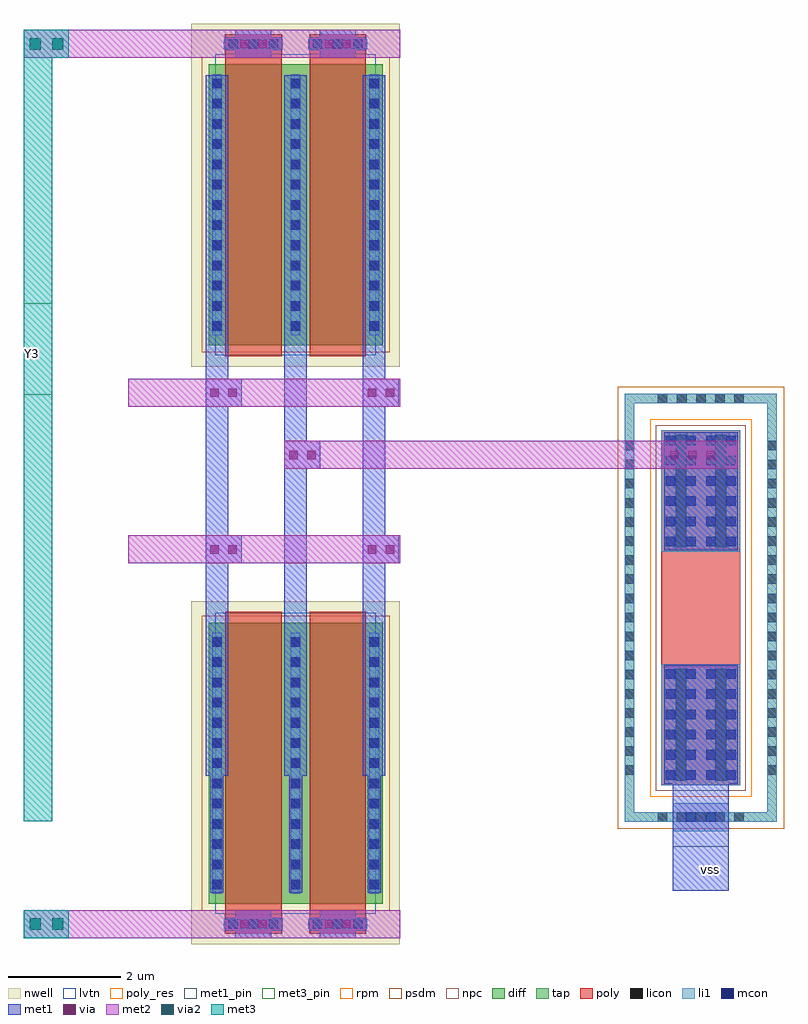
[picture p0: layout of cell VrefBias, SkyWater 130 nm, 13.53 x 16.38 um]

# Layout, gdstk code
from math import pi, radians
import gdstk
lib = gdstk.Library(unit=1e-6, precision=5e-09)
def R(c, l, rs):  # rectangles x0, y0, x1, y1
    for r in rs: c.add(gdstk.rectangle(r[:2], r[2:], *l))
def A(c, l, x, y, w, h, nx, ny, dx, dy):  # array of equal rectangles
    R(c, l, [(x+i*dx, y+j*dy, x+i*dx+w, y+j*dy+h) for i in range(nx) for j in range(ny)])
nwell = (64, 20)
diff = (65, 20)
tap = (65, 44)
poly_res = (66, 13)
poly = (66, 20)
licon = (66, 44)
li1 = (67, 20)
mcon = (67, 44)
met1_pin = (68, 16)
met1 = (68, 20)
via = (68, 44)
met2 = (69, 20)
via2 = (69, 44)
met3_pin = (70, 16)
met3 = (70, 20)
rpm = (86, 20)
psdm = (94, 20)
npc = (95, 20)
lvtn = (125, 44)

pfet = lib.new_cell('pfet')
R(pfet, nwell, [(-0.305,-0.38,3.405,5.72)])
R(pfet, diff, [(0,0,3.1,5)])
R(pfet, poly, [(0.3,-0.2,1.3,5.2), (1.8,-0.2,2.8,5.2), (0.3,5.2,1.3,5.53), (1.8,5.2,2.8,5.53)])
A(pfet, licon, 0.065, 0.255, 0.17, 0.17, 3, 13, 1.4, 0.36)
A(pfet, licon, 0.355, 5.28, 0.17, 0.17, 3, 1, 0.36, 0)
A(pfet, licon, 1.855, 5.28, 0.17, 0.17, 3, 1, 0.36, 0)
A(pfet, li1, 0.065, 0.175, 0.17, 4.65, 3, 1, 1.4, 0)
R(pfet, li1, [(0.275,5.28,1.325,5.45), (1.775,5.28,2.825,5.45)])
A(pfet, mcon, 0.065, 0.255, 0.17, 0.17, 3, 13, 1.4, 0.36)
A(pfet, mcon, 0.355, 5.28, 0.17, 0.17, 3, 1, 0.36, 0)
A(pfet, mcon, 1.855, 5.28, 0.17, 0.17, 3, 1, 0.36, 0)
A(pfet, met1, 0.035, 0.195, 0.23, 4.61, 3, 1, 1.4, 0)
R(pfet, met1, [(0.295,5.25,1.305,5.48), (1.795,5.25,2.805,5.48)])
R(pfet, psdm, [(-0.125,-0.125,3.225,5.125)])
R(pfet, npc, [(0.29,5.19,1.31,5.54), (1.79,5.19,2.81,5.54)])
R(pfet, lvtn, [(0.12,-0.18,2.98,5.18)])

vias_gen = lib.new_cell('vias_gen')
R(vias_gen, met1, [(0,0,0.64,0.5)])
R(vias_gen, via, [(0.085,0.175,0.235,0.325), (0.405,0.175,0.555,0.325)])
R(vias_gen, met2, [(0,0,0.64,0.5)])

res_poly = lib.new_cell('res_poly')
R(res_poly, tap, [(-1.355,-3.81,1.355,-3.64), (-1.355,-3.64,-1.185,3.64), (1.185,-3.64,1.355,3.64), (-1.355,3.64,1.355,3.81)])
R(res_poly, poly_res, [(-0.705,-1.06,0.705,1.06)])
R(res_poly, poly, [(-0.705,-3.16,0.705,3.16)])
A(res_poly, licon, -0.765, -3.81, 0.17, 0.17, 5, 2, 0.34, 7.45)
A(res_poly, licon, -1.355, -2.975, 0.17, 0.17, 1, 18, 0, 0.34)
A(res_poly, licon, 1.185, -2.975, 0.17, 0.17, 1, 18, 0, 0.34)
R(res_poly, licon, [(-0.45,-3.08,-0.26,-1.08), (0.26,-3.08,0.45,-1.08), (-0.45,1.08,-0.26,3.08), (0.26,1.08,0.45,3.08)])
R(res_poly, li1, [(-1.355,-3.81,1.355,-3.64), (-1.355,-3.64,-1.185,3.64), (1.185,-3.64,1.355,3.64), (-0.705,-3.16,0.705,-1), (-0.705,1,0.705,3.16), (-1.355,3.64,1.355,3.81)])
A(res_poly, mcon, -0.625, -3.06, 0.17, 0.17, 4, 6, 0.36, 0.36)
A(res_poly, mcon, -0.625, 1.095, 0.17, 0.17, 4, 6, 0.36, 0.36)
R(res_poly, met1, [(-0.655,-3.13,0.655,-1.025), (-0.655,1.025,0.655,3.13)])
R(res_poly, rpm, [(-0.905,-3.36,0.905,3.36)])
R(res_poly, psdm, [(-1.48,-3.935,1.48,3.935)])
R(res_poly, npc, [(-0.8,-3.255,0.8,3.255)])

vias_gen_2 = lib.new_cell('vias_gen$2')
R(vias_gen_2, met1, [(0,0,1,0.5)])
A(vias_gen_2, via, 0.105, 0.175, 0.15, 0.15, 3, 1, 0.32, 0)
R(vias_gen_2, met2, [(0,0,1,0.5)])

vias_gen_3 = lib.new_cell('vias_gen$3')
R(vias_gen_3, li1, [(0,0,1,0.5)])
R(vias_gen_3, mcon, [(0.235,0.165,0.405,0.335), (0.595,0.165,0.765,0.335)])
R(vias_gen_3, met1, [(0,0,1,0.5)])

vias_gen_7 = lib.new_cell('vias_gen$7')
R(vias_gen_7, met2, [(0,0,0.8,0.5)])
R(vias_gen_7, via2, [(0.1,0.15,0.3,0.35), (0.5,0.15,0.7,0.35)])
R(vias_gen_7, met3, [(0,0,0.8,0.5)])

vrefbias = lib.new_cell('VrefBias')
R(vrefbias, met1_pin, [(19,2.385,20,3.185)])
R(vrefbias, met3_pin, [(7.45,11.22,7.95,12.845)])
vrefbias.add(gdstk.FlexPath([(14.15,11.255),(9.31,11.255)], 0.5, ends="flush", simple_path=True, layer=69, datatype=20))  # met2
vrefbias.add(gdstk.FlexPath([(20.155,10.15),(12.085,10.15)], 0.5, ends="flush", simple_path=True, layer=69, datatype=20))  # met2
vrefbias.add(gdstk.FlexPath([(14.15,1.795),(7.45,1.795)], 0.5, ends="flush", simple_path=True, layer=69, datatype=20))  # met2
vrefbias.add(gdstk.FlexPath([(14.15,17.465),(7.45,17.465)], 0.5, ends="flush", simple_path=True, layer=69, datatype=20))  # met2
vrefbias.add(gdstk.FlexPath([(14.15,8.465),(9.31,8.465)], 0.5, ends="flush", simple_path=True, layer=69, datatype=20))  # met2
vrefbias.add(gdstk.FlexPath([(7.7,17.715),(7.7,3.63)], 0.5, ends="flush", simple_path=True, layer=70, datatype=20))  # met3
vrefbias.add(gdstk.FlexPath([(10.885,16.905),(10.885,4.44)], 0.4, ends="flush", simple_path=True, layer=68, datatype=20))  # met1
vrefbias.add(gdstk.FlexPath([(12.285,16.905),(12.285,4.44)], 0.4, ends="flush", simple_path=True, layer=68, datatype=20))  # met1
vrefbias.add(gdstk.FlexPath([(13.685,16.905),(13.685,4.44)], 0.4, ends="flush", simple_path=True, layer=68, datatype=20))  # met1
vrefbias.add(gdstk.FlexPath([(19.5,6.25),(19.5,2.385)], 1, ends="flush", simple_path=True, layer=68, datatype=20))  # met1
vrefbias.add(gdstk.Reference(pfet, (10.735,12.1)))
vrefbias.add(gdstk.Reference(pfet, (13.835,7.16), rotation=pi))
vrefbias.add(gdstk.Reference(vias_gen, (10.685,11.005)))
vrefbias.add(gdstk.Reference(vias_gen, (13.485,11.005)))
vrefbias.add(gdstk.Reference(vias_gen, (12.085,9.9)))
vrefbias.add(gdstk.Reference(vias_gen, (11.215,17.215)))
vrefbias.add(gdstk.Reference(vias_gen, (12.715,17.215)))
vrefbias.add(gdstk.Reference(vias_gen, (11.215,1.545)))
vrefbias.add(gdstk.Reference(vias_gen, (12.715,1.545)))
vrefbias.add(gdstk.Reference(vias_gen, (10.685,8.215)))
vrefbias.add(gdstk.Reference(res_poly, (19.5,7.425)))
vrefbias.add(gdstk.Reference(vias_gen, (13.485,8.215)))
vrefbias.add(gdstk.Reference(vias_gen_2, (18.85,9.9)))
vrefbias.add(gdstk.Reference(vias_gen_3, (19,3.45)))
vrefbias.add(gdstk.Reference(vias_gen_7, (7.45,17.215)))
vrefbias.add(gdstk.Reference(vias_gen_7, (7.45,1.545)))
vrefbias.add(gdstk.Label('Y3', (7.6,11.95), layer=70, texttype=16))
vrefbias.add(gdstk.Label('vss', (19.67,2.77), layer=68, texttype=16))

lib.write_gds('VrefBias.gds')
